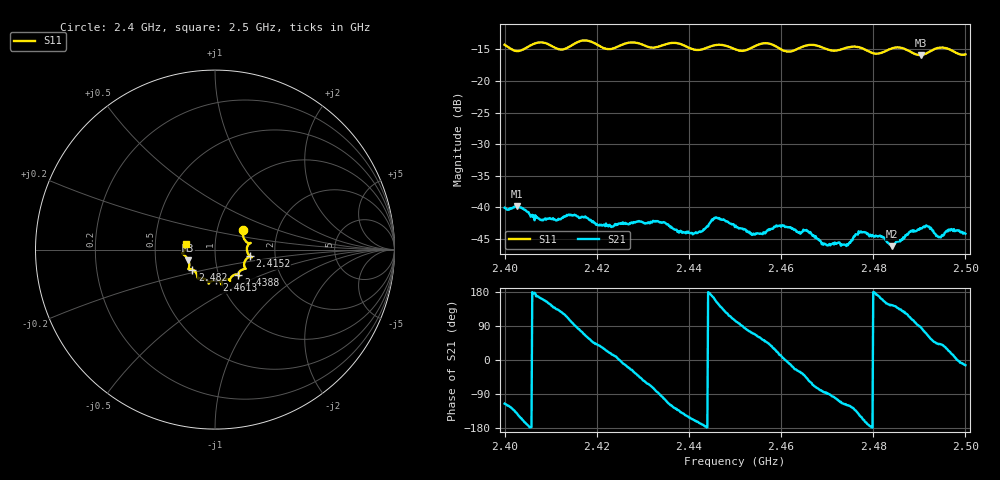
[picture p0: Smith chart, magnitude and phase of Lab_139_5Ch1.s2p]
# Hz S RI R 50
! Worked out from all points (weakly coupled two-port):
!   601 points, 2.4 GHz to 2.5 GHz, reference 50 ohm
!   highest |S21| = -39.83 dB at 2.4027 GHz (marker M1); lowest = -46.2 dB at 2.484 GHz (marker M2)
!   lowest |S11| = -15.9 dB at 2.4903 GHz (marker M3), VSWR 1.38, Z = 36.8 - j4.46 ohm
!   |S11| at or under -10 dB: start of sweep to end of sweep
!   S12 and S22 are empty: the file has one direction only
!   S11 on the Smith chart (normalised r, x): 2.4 GHz: 1.33, +0.31; 2.4152 GHz: 1.48, -0.11; 2.4388 GHz: 1.24, -0.36; 2.4613 GHz: 0.96, -0.34; 2.482 GHz: 0.76, -0.17; 2.5 GHz: 0.72, +0.05
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2.4e9  0.158 0.1113  -0.00422 -0.00897  0 0  0 0
2.402667e9  0.1589 0.067  -0.00792 -0.00641  0 0  0 0
2.408e9  0.1987 0.0373  -0.00751 0.00245  0 0  0 0
2.415167e9  0.1937 -0.037  -0.000305 0.00873  0 0  0 0
2.416667e9  0.2036 -0.0433  0.00216 0.00811  0 0  0 0
2.423e9  0.1637 -0.0721  0.00672 0.00219  0 0  0 0
2.433333e9  0.1322 -0.1318  0.000486 -0.00772  0 0  0 0
2.438833e9  0.1298 -0.1413  -0.00495 -0.00392  0 0  0 0
2.446e9  0.0835 -0.174  -0.00739 0.00378  0 0  0 0
2.45e9  0.0688 -0.1646  -0.00171 0.00675  0 0  0 0
2.453833e9  0.0347 -0.1817  0.00206 0.0057  0 0  0 0
2.461333e9  0.00757 -0.171  0.00694 -0.000565  0 0  0 0
2.466667e9  -0.0348 -0.1901  0.00292 -0.00535  0 0  0 0
2.470167e9  -0.0449 -0.1717  0.000152 -0.00498  0 0  0 0
2.4745e9  -0.0907 -0.1607  -0.00245 -0.00437  0 0  0 0
2.477333e9  -0.097 -0.1553  -0.00558 -0.00322  0 0  0 0
2.482e9  -0.1257 -0.1115  -0.00541 0.00203  0 0  0 0
2.483333e9  -0.1397 -0.1087  -0.00432 0.00287  0 0  0 0
2.484e9  -0.1448 -0.1088  -0.00401 0.00285  0 0  0 0
2.490333e9  -0.1492 -0.0591  0.00039 0.00677  0 0  0 0
2.494833e9  -0.1827 -0.0202  0.0045 0.00389  0 0  0 0
2.5e9  -0.1589 0.0326  0.006 -0.00147  0 0  0 0
